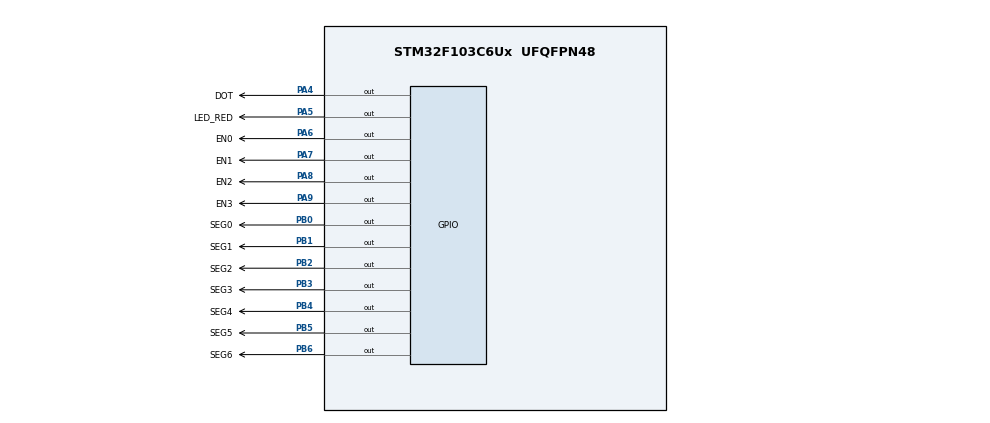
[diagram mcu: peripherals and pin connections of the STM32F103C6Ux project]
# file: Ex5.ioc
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Mcu.Family=STM32F1
Mcu.Name=STM32F103C6Ux
Mcu.Package=UFQFPN48
NVIC.PriorityGroup=NVIC_PRIORITYGROUP_4
NVIC.TIM2_IRQn=true\:0\:0\:false\:false\:true\:true\:true
PA4.GPIO_Label=DOT
PA4.Signal=GPIO_Output
PA5.GPIO_Label=LED_RED
PA5.Signal=GPIO_Output
PA6.GPIO_Label=EN0
PA6.Signal=GPIO_Output
PA7.GPIO_Label=EN1
PA7.Signal=GPIO_Output
PA8.GPIO_Label=EN2
PA8.Signal=GPIO_Output
PA9.GPIO_Label=EN3
PA9.Signal=GPIO_Output
PB0.GPIO_Label=SEG0
PB0.Signal=GPIO_Output
PB1.GPIO_Label=SEG1
PB1.Signal=GPIO_Output
PB2.GPIO_Label=SEG2
PB2.Signal=GPIO_Output
PB3.GPIO_Label=SEG3
PB3.Signal=GPIO_Output
PB4.GPIO_Label=SEG4
PB4.Signal=GPIO_Output
PB5.GPIO_Label=SEG5
PB5.Signal=GPIO_Output
PB6.GPIO_Label=SEG6
PB6.Signal=GPIO_Output
ProjectManager.HeapSize=0x200
ProjectManager.StackSize=0x400
ProjectManager.TargetToolchain=STM32CubeIDE
RCC.APB1Freq_Value=8000000
RCC.APB2Freq_Value=8000000
TIM2.Period=9
TIM2.Prescaler=7999
VP_SYS_VS_ND.Mode=No_Debug
VP_TIM2_VS_ClockSourceINT.Mode=Internal
board=custom

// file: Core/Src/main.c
/* USER CODE BEGIN Header */
/**
  ******************************************************************************
  * @file           : main.c
  * @brief          : Main program body
  ******************************************************************************
  * @attention
  *
  * <h2><center>&copy; Copyright (c) 2022 STMicroelectronics.
  * All rights reserved.</center></h2>
  *
  * This software component is licensed by ST under BSD 3-Clause license,
  * the "License"; You may not use this file except in compliance with the
  * License. You may obtain a copy of the License at:
  *                        opensource.org/licenses/BSD-3-Clause
  *
  ******************************************************************************
  */
/* USER CODE END Header */
#include "main.h"

/* USER CODE BEGIN Includes */
#include "software_timer.h"
/* USER CODE END Includes */

TIM_HandleTypeDef htim2;

void SystemClock_Config(void);
static void MX_GPIO_Init(void);
static void MX_TIM2_Init(void);

/* USER CODE BEGIN 0 */
void display7SEG(int num){
	switch(num){
	case 0:
		HAL_GPIO_WritePin(SEG0_GPIO_Port, SEG0_Pin, 0);
		HAL_GPIO_WritePin(SEG1_GPIO_Port, SEG1_Pin, 0);
		HAL_GPIO_WritePin(SEG2_GPIO_Port, SEG2_Pin, 0);
		HAL_GPIO_WritePin(SEG3_GPIO_Port, SEG3_Pin, 0);
		HAL_GPIO_WritePin(SEG4_GPIO_Port, SEG4_Pin, 0);
		HAL_GPIO_WritePin(SEG5_GPIO_Port, SEG5_Pin, 0);
		HAL_GPIO_WritePin(SEG6_GPIO_Port, SEG6_Pin, 1);
		break;
	case 1:
		HAL_GPIO_WritePin(SEG0_GPIO_Port, SEG0_Pin, 1);
		HAL_GPIO_WritePin(SEG1_GPIO_Port, SEG1_Pin, 0);
		HAL_GPIO_WritePin(SEG2_GPIO_Port, SEG2_Pin, 0);
		HAL_GPIO_WritePin(SEG3_GPIO_Port, SEG3_Pin, 1);
		HAL_GPIO_WritePin(SEG4_GPIO_Port, SEG4_Pin, 1);
		HAL_GPIO_WritePin(SEG5_GPIO_Port, SEG5_Pin, 1);
		HAL_GPIO_WritePin(SEG6_GPIO_Port, SEG6_Pin, 1);
		break;
	case 2:
		HAL_GPIO_WritePin(SEG0_GPIO_Port, SEG0_Pin, 0);
		HAL_GPIO_WritePin(SEG1_GPIO_Port, SEG1_Pin, 0);
		HAL_GPIO_WritePin(SEG2_GPIO_Port, SEG2_Pin, 1);
		HAL_GPIO_WritePin(SEG3_GPIO_Port, SEG3_Pin, 0);
		HAL_GPIO_WritePin(SEG4_GPIO_Port, SEG4_Pin, 0);
		HAL_GPIO_WritePin(SEG5_GPIO_Port, SEG5_Pin, 1);
		HAL_GPIO_WritePin(SEG6_GPIO_Port, SEG6_Pin, 0);
		break;
	case 3:
		HAL_GPIO_WritePin(SEG0_GPIO_Port, SEG0_Pin, 0);
		HAL_GPIO_WritePin(SEG1_GPIO_Port, SEG1_Pin, 0);
		HAL_GPIO_WritePin(SEG2_GPIO_Port, SEG2_Pin, 0);
		HAL_GPIO_WritePin(SEG3_GPIO_Port, SEG3_Pin, 0);
		HAL_GPIO_WritePin(SEG4_GPIO_Port, SEG4_Pin, 1);
		HAL_GPIO_WritePin(SEG5_GPIO_Port, SEG5_Pin, 1);
		HAL_GPIO_WritePin(SEG6_GPIO_Port, SEG6_Pin, 0);
		break;
	case 4:
		HAL_GPIO_WritePin(SEG0_GPIO_Port, SEG0_Pin, 1);
		HAL_GPIO_WritePin(SEG1_GPIO_Port, SEG1_Pin, 0);
		HAL_GPIO_WritePin(SEG2_GPIO_Port, SEG2_Pin, 0);
		HAL_GPIO_WritePin(SEG3_GPIO_Port, SEG3_Pin, 1);
		HAL_GPIO_WritePin(SEG4_GPIO_Port, SEG4_Pin, 1);
		HAL_GPIO_WritePin(SEG5_GPIO_Port, SEG5_Pin, 0);
		HAL_GPIO_WritePin(SEG6_GPIO_Port, SEG6_Pin, 0);
		break;
	case 5:
		HAL_GPIO_WritePin(SEG0_GPIO_Port, SEG0_Pin, 0);
		HAL_GPIO_WritePin(SEG1_GPIO_Port, SEG1_Pin, 1);
		HAL_GPIO_WritePin(SEG2_GPIO_Port, SEG2_Pin, 0);
		HAL_GPIO_WritePin(SEG3_GPIO_Port, SEG3_Pin, 0);
		HAL_GPIO_WritePin(SEG4_GPIO_Port, SEG4_Pin, 1);
		HAL_GPIO_WritePin(SEG5_GPIO_Port, SEG5_Pin, 0);
		HAL_GPIO_WritePin(SEG6_GPIO_Port, SEG6_Pin, 0);
		break;
	case 6:
		HAL_GPIO_WritePin(SEG0_GPIO_Port, SEG0_Pin, 0);
		HAL_GPIO_WritePin(SEG1_GPIO_Port, SEG1_Pin, 1);
		HAL_GPIO_WritePin(SEG2_GPIO_Port, SEG2_Pin, 0);
		HAL_GPIO_WritePin(SEG3_GPIO_Port, SEG3_Pin, 0);
		HAL_GPIO_WritePin(SEG4_GPIO_Port, SEG4_Pin, 0);
		HAL_GPIO_WritePin(SEG5_GPIO_Port, SEG5_Pin, 0);
		HAL_GPIO_WritePin(SEG6_GPIO_Port, SEG6_Pin, 0);
		break;
	case 7:
		HAL_GPIO_WritePin(SEG0_GPIO_Port, SEG0_Pin, 0);
		HAL_GPIO_WritePin(SEG1_GPIO_Port, SEG1_Pin, 0);
		HAL_GPIO_WritePin(SEG2_GPIO_Port, SEG2_Pin, 0);
		HAL_GPIO_WritePin(SEG3_GPIO_Port, SEG3_Pin, 1);
		HAL_GPIO_WritePin(SEG4_GPIO_Port, SEG4_Pin, 1);
		HAL_GPIO_WritePin(SEG5_GPIO_Port, SEG5_Pin, 1);
		HAL_GPIO_WritePin(SEG6_GPIO_Port, SEG6_Pin, 1);
		break;
	case 8:
		HAL_GPIO_WritePin(SEG0_GPIO_Port, SEG0_Pin, 0);
		HAL_GPIO_WritePin(SEG1_GPIO_Port, SEG1_Pin, 0);
		HAL_GPIO_WritePin(SEG2_GPIO_Port, SEG2_Pin, 0);
		HAL_GPIO_WritePin(SEG3_GPIO_Port, SEG3_Pin, 0);
		HAL_GPIO_WritePin(SEG4_GPIO_Port, SEG4_Pin, 0);
		HAL_GPIO_WritePin(SEG5_GPIO_Port, SEG5_Pin, 0);
		HAL_GPIO_WritePin(SEG6_GPIO_Port, SEG6_Pin, 0);
		break;
	case 9:
		HAL_GPIO_WritePin(SEG0_GPIO_Port, SEG0_Pin, 0);
		HAL_GPIO_WritePin(SEG1_GPIO_Port, SEG1_Pin, 0);
		HAL_GPIO_WritePin(SEG2_GPIO_Port, SEG2_Pin, 0);
		HAL_GPIO_WritePin(SEG3_GPIO_Port, SEG3_Pin, 0);
		HAL_GPIO_WritePin(SEG4_GPIO_Port, SEG4_Pin, 1);
		HAL_GPIO_WritePin(SEG5_GPIO_Port, SEG5_Pin, 0);
		HAL_GPIO_WritePin(SEG6_GPIO_Port, SEG6_Pin, 0);
		break;
	default:
		break;
	}
}

void update7SEG(int index, int led_buffer[]){
	switch (index){
	case 0:
		HAL_GPIO_WritePin(EN0_GPIO_Port, EN0_Pin, 0);
		display7SEG(led_buffer[0]);
		break;
	case 1:
		HAL_GPIO_WritePin(EN1_GPIO_Port, EN1_Pin, 0);
		display7SEG(led_buffer[1]);
		break;
	case 2:
		HAL_GPIO_WritePin(EN2_GPIO_Port, EN2_Pin, 0);
		display7SEG(led_buffer[2]);
		break;
	case 3:
		HAL_GPIO_WritePin(EN3_GPIO_Port, EN3_Pin, 0);
		display7SEG(led_buffer[3]);
		break;
	default:
		break;
	}
}

void clearAllSeg(){
	 HAL_GPIO_WritePin(EN0_GPIO_Port, EN0_Pin, 1);
	 HAL_GPIO_WritePin(EN1_GPIO_Port, EN1_Pin, 1);
	 HAL_GPIO_WritePin(EN2_GPIO_Port, EN2_Pin, 1);
	 HAL_GPIO_WritePin(EN3_GPIO_Port, EN3_Pin, 1);
}
/* USER CODE END 0 */

int main(void)
{

  /* MCU Configuration--------------------------------------------------------*/

  /* Reset of all peripherals, Initializes the Flash interface and the Systick. */
  HAL_Init();

  /* Configure the system clock */
  SystemClock_Config();

  /* Initialize all configured peripherals */
  MX_GPIO_Init();
  MX_TIM2_Init();
  /* USER CODE BEGIN 2 */
  HAL_TIM_Base_Start_IT(&htim2);
  int hour = 15, minute =8, second =0;
  int led_buffer[4];
  int index_led =0;
  /* USER CODE END 2 */

  /* Infinite loop */
  /* USER CODE BEGIN WHILE */
  setTimer1 (5);
  setTimer2 (7);
  setTimer3 (3);
  while (1)
  {
    /* USER CODE END WHILE */
	  if (timer3_flag ==1){
		  setTimer3(10);
		  second++;
		  if (second >=60){
			  second =0;
			  minute ++;
		  }

		  if (minute >= 60){
			  minute =0;
			  hour++;
		  }

		  if (hour >= 24) {
			  hour =0;
		  }
	  }

	  if (timer1_flag == 1){
		  setTimer1(10);

		  clearAllSeg();

		  led_buffer[0] = hour/10;
		  led_buffer[1] = hour%10;
		  led_buffer[2] = minute/10;
		  led_buffer[3] = minute%10;

		  update7SEG(index_led, led_buffer);

		  if (index_led >= 3) index_led =0;
		  else index_led++;
	  }

	  if (timer2_flag ==1){
		  setTimer2(50);
		  HAL_GPIO_TogglePin(DOT_GPIO_Port, DOT_Pin);
		  HAL_GPIO_TogglePin(LED_RED_GPIO_Port, LED_RED_Pin);
	  }

  }
}

void SystemClock_Config(void)
{
  RCC_OscInitTypeDef RCC_OscInitStruct = {0};
  RCC_ClkInitTypeDef RCC_ClkInitStruct = {0};

  /** Initializes the RCC Oscillators according to the specified parameters
  * in the RCC_OscInitTypeDef structure.
  */
  RCC_OscInitStruct.OscillatorType = RCC_OSCILLATORTYPE_HSI;
  RCC_OscInitStruct.HSIState = RCC_HSI_ON;
  RCC_OscInitStruct.HSICalibrationValue = RCC_HSICALIBRATION_DEFAULT;
  RCC_OscInitStruct.PLL.PLLState = RCC_PLL_NONE;
  if (HAL_RCC_OscConfig(&RCC_OscInitStruct) != HAL_OK)
  {
    Error_Handler();
  }
  /** Initializes the CPU, AHB and APB buses clocks
  */
  RCC_ClkInitStruct.ClockType = RCC_CLOCKTYPE_HCLK|RCC_CLOCKTYPE_SYSCLK
                              |RCC_CLOCKTYPE_PCLK1|RCC_CLOCKTYPE_PCLK2;
  RCC_ClkInitStruct.SYSCLKSource = RCC_SYSCLKSOURCE_HSI;
  RCC_ClkInitStruct.AHBCLKDivider = RCC_SYSCLK_DIV1;
  RCC_ClkInitStruct.APB1CLKDivider = RCC_HCLK_DIV1;
  RCC_ClkInitStruct.APB2CLKDivider = RCC_HCLK_DIV1;

  if (HAL_RCC_ClockConfig(&RCC_ClkInitStruct, FLASH_LATENCY_0) != HAL_OK)
  {
    Error_Handler();
  }
}

static void MX_TIM2_Init(void)
{

  TIM_ClockConfigTypeDef sClockSourceConfig = {0};
  TIM_MasterConfigTypeDef sMasterConfig = {0};

  htim2.Instance = TIM2;
  htim2.Init.Prescaler = 7999;
  htim2.Init.CounterMode = TIM_COUNTERMODE_UP;
  htim2.Init.Period = 9;
  htim2.Init.ClockDivision = TIM_CLOCKDIVISION_DIV1;
  htim2.Init.AutoReloadPreload = TIM_AUTORELOAD_PRELOAD_DISABLE;
  if (HAL_TIM_Base_Init(&htim2) != HAL_OK)
  {
    Error_Handler();
  }
  sClockSourceConfig.ClockSource = TIM_CLOCKSOURCE_INTERNAL;
  if (HAL_TIM_ConfigClockSource(&htim2, &sClockSourceConfig) != HAL_OK)
  {
    Error_Handler();
  }
  sMasterConfig.MasterOutputTrigger = TIM_TRGO_RESET;
  sMasterConfig.MasterSlaveMode = TIM_MASTERSLAVEMODE_DISABLE;
  if (HAL_TIMEx_MasterConfigSynchronization(&htim2, &sMasterConfig) != HAL_OK)
  {
    Error_Handler();
  }

}

static void MX_GPIO_Init(void)
{
  GPIO_InitTypeDef GPIO_InitStruct = {0};

  /* GPIO Ports Clock Enable */
  __HAL_RCC_GPIOA_CLK_ENABLE();
  __HAL_RCC_GPIOB_CLK_ENABLE();

  /*Configure GPIO pin Output Level */
  HAL_GPIO_WritePin(GPIOA, DOT_Pin|LED_RED_Pin|EN0_Pin|EN1_Pin
                          |EN2_Pin|EN3_Pin, GPIO_PIN_RESET);

  /*Configure GPIO pin Output Level */
  HAL_GPIO_WritePin(GPIOB, SEG0_Pin|SEG1_Pin|SEG2_Pin|SEG3_Pin
                          |SEG4_Pin|SEG5_Pin|SEG6_Pin, GPIO_PIN_RESET);

  /*Configure GPIO pins : DOT_Pin LED_RED_Pin EN0_Pin EN1_Pin
                           EN2_Pin EN3_Pin */
  GPIO_InitStruct.Pin = DOT_Pin|LED_RED_Pin|EN0_Pin|EN1_Pin
                          |EN2_Pin|EN3_Pin;
  GPIO_InitStruct.Mode = GPIO_MODE_OUTPUT_PP;
  GPIO_InitStruct.Pull = GPIO_NOPULL;
  GPIO_InitStruct.Speed = GPIO_SPEED_FREQ_LOW;
  HAL_GPIO_Init(GPIOA, &GPIO_InitStruct);

  /*Configure GPIO pins : SEG0_Pin SEG1_Pin SEG2_Pin SEG3_Pin
                           SEG4_Pin SEG5_Pin SEG6_Pin */
  GPIO_InitStruct.Pin = SEG0_Pin|SEG1_Pin|SEG2_Pin|SEG3_Pin
                          |SEG4_Pin|SEG5_Pin|SEG6_Pin;
  GPIO_InitStruct.Mode = GPIO_MODE_OUTPUT_PP;
  GPIO_InitStruct.Pull = GPIO_NOPULL;
  GPIO_InitStruct.Speed = GPIO_SPEED_FREQ_LOW;
  HAL_GPIO_Init(GPIOB, &GPIO_InitStruct);

}

/* USER CODE BEGIN 4 */
void HAL_TIM_PeriodElapsedCallback(TIM_HandleTypeDef *htim){
	timerRun();
}
/* USER CODE END 4 */

void Error_Handler(void)
{
  __disable_irq();
  while (1)
  {
  }
}

/************************ (C) COPYRIGHT STMicroelectronics *****END OF FILE****/
